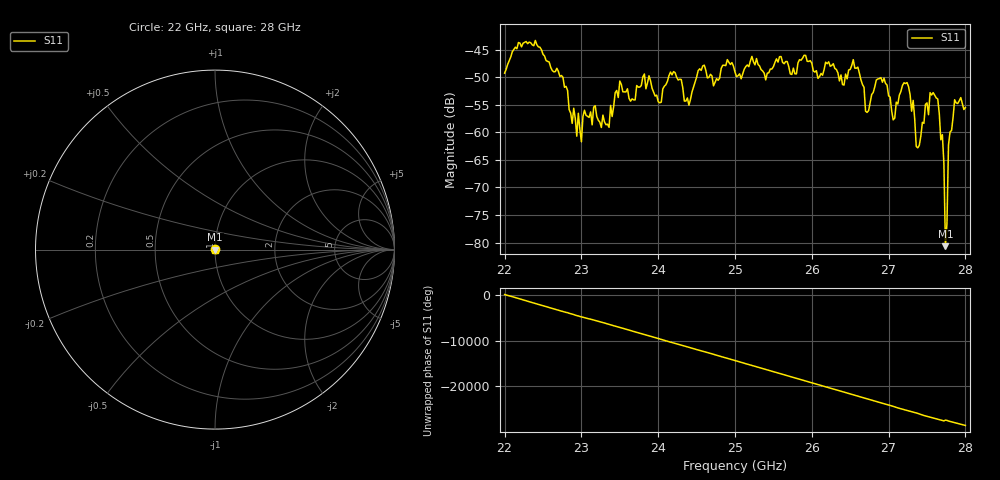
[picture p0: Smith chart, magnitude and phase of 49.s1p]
#  HZ  S  RI  R  50.00
! Rohde & Schwarz ZVA40 4Ports - Version 3.90 - 1145.1110k42 SN: 100403
! Date: 2023-10-04 10:42:42
! Measurement: S12
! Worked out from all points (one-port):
!   301 points, 22 GHz to 28 GHz, reference 50 ohm
!   lowest |S11| = -80.7 dB at 27.74 GHz (marker M1), VSWR 1.00, Z = 50 - j0.00393 ohm
!   |S11| at or under -10 dB: start of sweep to end of sweep
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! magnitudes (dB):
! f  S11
! 22 GHz  -49.3
! 22.4 GHz  -43.3
! 22.76 GHz  -50.0
! 23 GHz  -61.7
! 23.04 GHz  -56.0
! 23.36 GHz  -59.1
! 23.5 GHz  -50.7
! 24.02 GHz  -54.6
! 24.26 GHz  -50.5
! 24.4 GHz  -55.0
! 24.58 GHz  -47.9
! 25 GHz  -49.1
! 25.76 GHz  -48.3
! 26.5 GHz  -48.6
! 26.6 GHz  -48.2
! 26.72 GHz  -56.4
! 26.86 GHz  -50.3
! 27.06 GHz  -57.7
! 27.26 GHz  -51.7
! 27.38 GHz  -62.8
! 27.54 GHz  -52.8
! 27.64 GHz  -53.9
! 27.72 GHz  -65.6
! 27.74 GHz  -80.7
! 27.76 GHz  -76.6
! 27.78 GHz  -62.3
! 27.86 GHz  -54.1
! 28 GHz  -55.5
